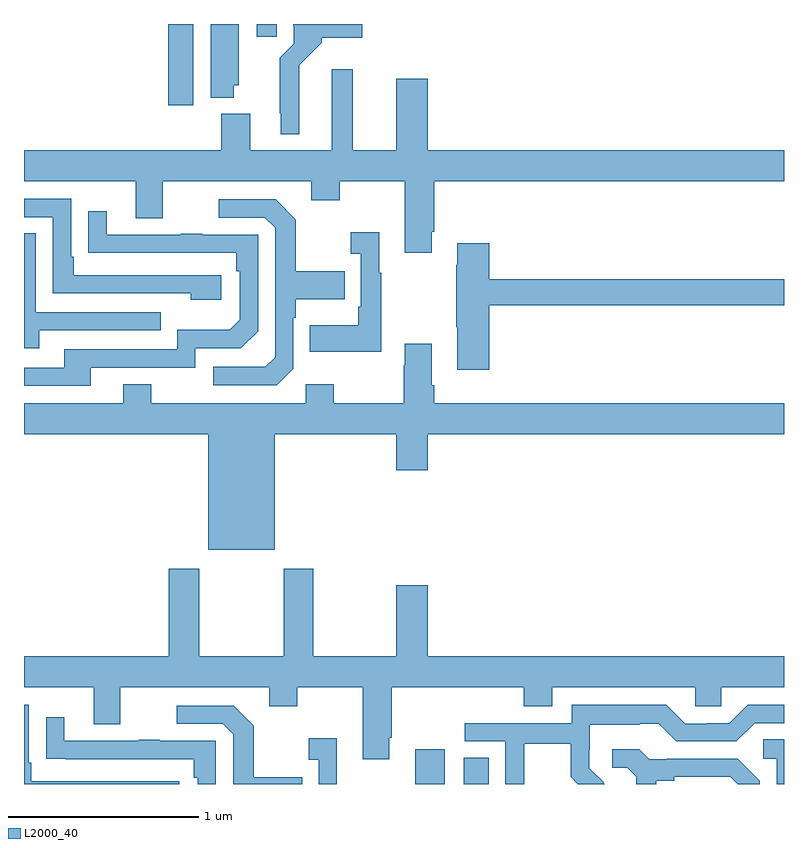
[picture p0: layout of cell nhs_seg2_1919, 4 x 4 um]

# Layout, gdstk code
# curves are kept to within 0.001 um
import gdstk
lib = gdstk.Library(unit=1e-6, precision=1e-09)
def R(c, l, rs):  # rectangles x0, y0, x1, y1
    for r in rs: c.add(gdstk.rectangle(r[:2], r[2:], *l))
def P(c, l, *ps):  # polygons
    for p in ps: c.add(gdstk.Polygon(p, *l))
L2000_40 = (2000, 40)

nhs_seg2_1919 = lib.new_cell('nhs_seg2_1919')
R(nhs_seg2_1919, L2000_40, [(213.059,641.8,213.214,641.983), (213.314,641.8,213.445,641.939), (211.76,645.372,211.891,645.8), (212.225,645.732,212.329,645.8)])
P(nhs_seg2_1919, L2000_40, [(212.449,645.584),(212.567,645.702),(212.567,645.728),(212.779,645.728),(212.779,645.8),(212.417,645.8),(212.417,645.79),(212.421,645.79),(212.421,645.696),(212.347,645.622),(212.347,645.331),(212.351,645.331),(212.351,645.221),(212.449,645.221)],
  [(212.104,645.477),(212.131,645.477),(212.131,645.8),(211.982,645.8),(211.982,645.413),(212.104,645.413)],
  [(212.661,644.972),(213.005,644.972),(213.005,644.595),(213.145,644.595),(213.145,644.707),(213.158,644.707),(213.158,644.972),(215,644.972),(215,645.136),(213.124,645.136),(213.124,645.511),(212.96,645.511),(212.96,645.136),(212.731,645.136),(212.731,645.562),(212.621,645.562),(212.621,645.136),(212.191,645.136),(212.191,645.328),(212.039,645.328),(212.039,645.136),(211,645.136),(211,644.972),(211.589,644.972),(211.589,644.778),(211.729,644.778),(211.729,644.972),(212.513,644.972),(212.513,644.873),(212.661,644.873)],
  [(212.038,644.478),(211.261,644.478),(211.261,644.575),(211.248,644.575),(211.248,644.88),(211,644.88),(211,644.784),(211.152,644.784),(211.152,644.382),(211.877,644.382),(211.877,644.348),(212.038,644.348)],
  [(212.418,643.986),(212.418,644.255),(212.431,644.255),(212.431,644.351),(212.687,644.351),(212.687,644.499),(212.431,644.499),(212.431,644.771),(212.325,644.877),(212.025,644.877),(212.025,644.781),(212.268,644.781),(212.322,644.727),(212.322,644.046),(212.271,643.995),(211.995,643.995),(211.995,643.899),(212.331,643.899)],
  [(211.351,643.992),(211.902,643.992),(211.902,644.094),(212.142,644.094),(212.232,644.184),(212.232,644.691),(211.937,644.691),(211.937,644.696),(211.825,644.696),(211.825,644.691),(211.435,644.691),(211.435,644.815),(211.339,644.815),(211.339,644.596),(212.116,644.595),(212.116,644.498),(212.136,644.498),(212.136,644.244),(212.083,644.191),(211.806,644.191),(211.806,644.088),(211.211,644.088),(211.211,643.992),(211,643.992),(211,643.896),(211.351,643.896)],
  [(212.881,644.491),(212.869,644.491),(212.869,644.704),(212.721,644.704),(212.721,644.591),(212.772,644.591),(212.772,644.311),(212.76,644.311),(212.76,644.215),(212.503,644.215),(212.503,644.075),(212.881,644.075)],
  [(211.081,644.187),(211.721,644.187),(211.721,644.283),(211.062,644.283),(211.062,644.699),(211,644.699),(211,644.093),(211.081,644.093)],
  [(213.449,644.32),(215,644.32),(215,644.456),(213.449,644.456),(213.449,644.647),(213.281,644.647),(213.281,644.534),(213.274,644.534),(213.274,644.203),(213.281,644.203),(213.281,643.98),(213.449,643.98)],
  [(212.32,643.64),(212.96,643.64),(212.96,643.452),(213.124,643.452),(213.124,643.64),(215,643.64),(215,643.804),(213.158,643.804),(213.158,643.9),(213.145,643.9),(213.145,644.116),(213.005,644.116),(213.005,644.003),(212.998,644.003),(212.998,643.804),(212.631,643.804),(212.631,643.903),(212.484,643.903),(212.484,643.804),(211.671,643.804),(211.671,643.903),(211.523,643.903),(211.523,643.804),(211,643.804),(211,643.64),(211.97,643.64),(211.97,643.034),(212.32,643.034)],
  [(212.923,642.043),(212.936,642.043),(212.936,642.308),(213.629,642.308),(213.629,642.209),(213.781,642.209),(213.781,642.308),(214.533,642.308),(214.533,642.21),(214.671,642.21),(214.671,642.308),(215,642.308),(215,642.472),(213.124,642.472),(213.124,642.847),(212.96,642.847),(212.96,642.472),(212.523,642.472),(212.523,642.934),(212.368,642.934),(212.368,642.472),(211.923,642.472),(211.923,642.934),(211.763,642.934),(211.763,642.472),(211,642.472),(211,642.308),(211.367,642.308),(211.367,642.114),(211.507,642.114),(211.507,642.308),(212.291,642.308),(212.291,642.209),(212.439,642.209),(212.439,642.308),(212.783,642.308),(212.783,641.931),(212.923,641.931)],
  [(213.633,642.012),(213.877,642.012),(213.877,641.837),(213.914,641.8),(214.056,641.8),(214.049,641.807),(214.05,641.808),(213.976,641.882),(213.976,641.979),(213.978,641.979),(213.978,642.113),(214.241,642.113),(214.241,642.117),(214.341,642.117),(214.434,642.024),(214.749,642.024),(214.845,642.12),(215,642.12),(215,642.216),(214.809,642.216),(214.713,642.12),(214.595,642.12),(214.595,642.117),(214.479,642.117),(214.379,642.217),(213.882,642.217),(213.882,642.12),(213.321,642.12),(213.321,642.024),(213.534,642.024),(213.534,641.8),(213.633,641.8)],
  [(211.816,641.814),(211.039,641.814),(211.039,641.911),(211.026,641.911),(211.026,642.216),(211,642.216),(211,641.8),(211.816,641.8)],
  [(212.465,641.835),(212.209,641.835),(212.209,642.107),(212.103,642.213),(211.803,642.213),(211.803,642.117),(212.046,642.117),(212.1,642.063),(212.1,641.8),(212.465,641.8)],
  [(212.01,642.027),(211.715,642.027),(211.715,642.032),(211.603,642.032),(211.603,642.027),(211.213,642.027),(211.213,642.151),(211.117,642.151),(211.117,641.932),(211.219,641.932),(211.219,641.931),(211.894,641.931),(211.894,641.834),(211.914,641.834),(211.914,641.8),(212.01,641.8)],
  [(212.646,642.04),(212.499,642.04),(212.499,641.927),(212.55,641.927),(212.55,641.8),(212.646,641.8)],
  [(215,642.035),(214.89,642.035),(214.89,641.934),(214.962,641.934),(214.962,641.8),(215,641.8)],
  [(214.327,641.816),(214.423,641.816),(214.423,641.838),(214.718,641.838),(214.756,641.8),(214.872,641.8),(214.872,641.818),(214.756,641.934),(214.384,641.934),(214.384,641.931),(214.29,641.931),(214.238,641.983),(214.095,641.983),(214.095,641.886),(214.176,641.886),(214.223,641.839),(214.223,641.8),(214.327,641.8)])

lib.write_gds('nhs_seg2_1919.gds')
